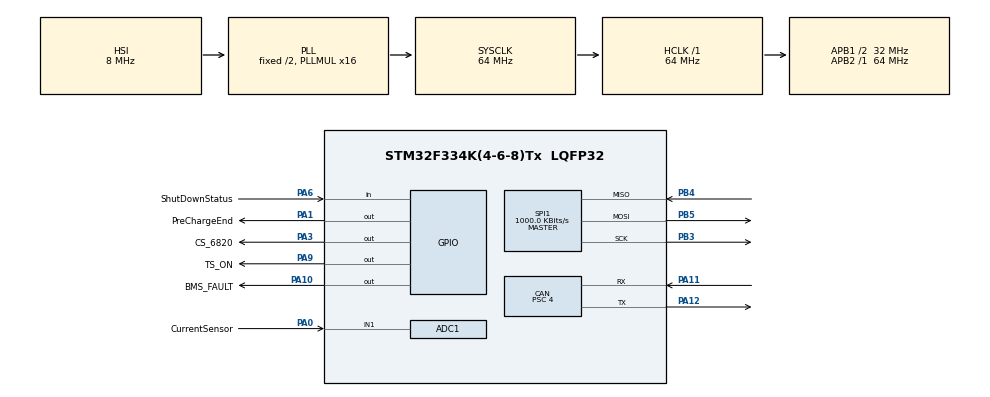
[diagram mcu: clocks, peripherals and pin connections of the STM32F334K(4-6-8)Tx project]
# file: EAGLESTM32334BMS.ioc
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ADC1.Channel-0\#ChannelRegularConversion=ADC_CHANNEL_1
ADC1.NbrOfConversion=1
ADC1.NbrOfConversionFlag=1
ADC1.Offset-0\#ChannelRegularConversion=0
ADC1.OffsetNumber-0\#ChannelRegularConversion=ADC_OFFSET_NONE
ADC1.Rank-0\#ChannelRegularConversion=1
ADC1.SamplingTime-0\#ChannelRegularConversion=ADC_SAMPLETIME_1CYCLE_5
ADC1.SubFamily=STM32F334x8
ADC1.master=1
CAN.BS1=CAN_BS1_6TQ
CAN.CalculateTimeQuantum=125.0
CAN.Prescaler=4
Mcu.Family=STM32F3
Mcu.Name=STM32F334K(4-6-8)Tx
Mcu.Package=LQFP32
NVIC.PriorityGroup=NVIC_PRIORITYGROUP_4
PA0.GPIO_Label=CurrentSensor
PA0.Mode=IN1-Single-Ended
PA0.Signal=ADC1_IN1
PA1.GPIO_Label=PreChargeEnd
PA1.Signal=GPIO_Output
PA10.GPIO_Label=BMS_FAULT
PA10.Signal=GPIO_Output
PA11.GPIO_PuPd=GPIO_PULLUP
PA11.Mode=Master
PA11.Signal=CAN_RX
PA12.GPIO_PuPd=GPIO_PULLUP
PA12.Mode=Master
PA12.Signal=CAN_TX
PA13.Mode=Serial_Wire
PA13.Signal=SYS_JTMS-SWDIO
PA14.Mode=Serial_Wire
PA14.Signal=SYS_JTCK-SWCLK
PA3.GPIO_Label=CS_6820
PA3.PinState=GPIO_PIN_SET
PA3.Signal=GPIO_Output
PA6.GPIO_Label=ShutDownStatus
PA6.Signal=GPIO_Input
PA9.GPIO_Label=TS_ON
PA9.Signal=GPIO_Output
PB3.Mode=Full_Duplex_Master
PB3.Signal=SPI1_SCK
PB4.Mode=Full_Duplex_Master
PB4.Signal=SPI1_MISO
PB5.Mode=Full_Duplex_Master
PB5.Signal=SPI1_MOSI
ProjectManager.HeapSize=0x200
ProjectManager.StackSize=0x400
ProjectManager.TargetToolchain=SW4STM32
RCC.AHBFreq_Value=64000000
RCC.APB1CLKDivider=RCC_HCLK_DIV2
RCC.APB1Freq_Value=32000000
RCC.APB1TimFreq_Value=64000000
RCC.APB2Freq_Value=64000000
RCC.APB2TimFreq_Value=64000000
RCC.CortexFreq_Value=64000000
RCC.HCLKFreq_Value=64000000
RCC.HSE_VALUE=8000000
RCC.HSI_VALUE=8000000
RCC.PLLMUL=RCC_PLL_MUL16
RCC.SYSCLKFreq_VALUE=64000000
RCC.SYSCLKSourceVirtual=RCC_SYSCLKSOURCE_PLLCLK
SPI1.BaudRatePrescaler=SPI_BAUDRATEPRESCALER_64
SPI1.CalculateBaudRate=1000.0 KBits/s
SPI1.DataSize=SPI_DATASIZE_8BIT
SPI1.Direction=SPI_DIRECTION_2LINES
SPI1.Mode=SPI_MODE_MASTER
SPI1.VirtualType=VM_MASTER
board=EAGLESTM32334BMS

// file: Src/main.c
/**
  ******************************************************************************
  * @file           : main.c
  * @brief          : Main program body
  ******************************************************************************
  ** This notice applies to any and all portions of this file
  * that are not between comment pairs USER CODE BEGIN and
  * USER CODE END. Other portions of this file, whether
  * inserted by the user or by software development tools
  * are owned by their respective copyright owners.
  *
  * COPYRIGHT(c) 2018 STMicroelectronics
  *
  * Redistribution and use in source and binary forms, with or without modification,
  * are permitted provided that the following conditions are met:
  *   1. Redistributions of source code must retain the above copyright notice,
  *      this list of conditions and the following disclaimer.
  *   2. Redistributions in binary form must reproduce the above copyright notice,
  *      this list of conditions and the following disclaimer in the documentation
  *      and/or other materials provided with the distribution.
  *   3. Neither the name of STMicroelectronics nor the names of its contributors
  *      may be used to endorse or promote products derived from this software
  *      without specific prior written permission.
  *
  * THIS SOFTWARE IS PROVIDED BY THE COPYRIGHT HOLDERS AND CONTRIBUTORS "AS IS"
  * AND ANY EXPRESS OR IMPLIED WARRANTIES, INCLUDING, BUT NOT LIMITED TO, THE
  * IMPLIED WARRANTIES OF MERCHANTABILITY AND FITNESS FOR A PARTICULAR PURPOSE ARE
  * DISCLAIMED. IN NO EVENT SHALL THE COPYRIGHT HOLDER OR CONTRIBUTORS BE LIABLE
  * FOR ANY DIRECT, INDIRECT, INCIDENTAL, SPECIAL, EXEMPLARY, OR CONSEQUENTIAL
  * DAMAGES (INCLUDING, BUT NOT LIMITED TO, PROCUREMENT OF SUBSTITUTE GOODS OR
  * SERVICES; LOSS OF USE, DATA, OR PROFITS; OR BUSINESS INTERRUPTION) HOWEVER
  * CAUSED AND ON ANY THEORY OF LIABILITY, WHETHER IN CONTRACT, STRICT LIABILITY,
  * OR TORT (INCLUDING NEGLIGENCE OR OTHERWISE) ARISING IN ANY WAY OUT OF THE USE
  * OF THIS SOFTWARE, EVEN IF ADVISED OF THE POSSIBILITY OF SUCH DAMAGE.
  *
  ******************************************************************************
  */
#include "main.h"
#include "stm32f3xx_hal.h"

/* USER CODE BEGIN Includes */

#include "ltc_68xx.h"
#include <string.h>
#include <stdlib.h>
#include <inttypes.h>
#define TOT_IC 12 // number of daisy chain
#define CELL_CH 9
CAN_FilterConfTypeDef tsONfilter;
CanRxMsgTypeDef RxMsg;
CanTxMsgTypeDef TxMsg;
/* USER CODE END Includes */

ADC_HandleTypeDef hadc1;

CAN_HandleTypeDef hcan;

SPI_HandleTypeDef hspi1;

/* USER CODE BEGIN PV */
/* Private variables ---------------------------------------------------------*/

uint16_t cell_voltages[108][2];
uint16_t cell_voltages_vector[108];
uint16_t cell_temperatures[108][2];
uint16_t cell_temperatures_vector[108];
uint16_t min_v;
uint16_t max_v;
uint16_t avg_v;
uint32_t pack_v;
uint16_t max_t;
uint16_t avg_t;
uint8_t parity = 0;
PackStateTypeDef state = PACK_OK;
uint8_t fault_counter = 0;
uint8_t BMS_status = 0;
int counterCicle = 0;
uint32_t *adcBuffer;
/* USER CODE END PV */

void SystemClock_Config(void);
static void MX_GPIO_Init(void);
static void MX_SPI1_Init(void);
static void MX_ADC1_Init(void);
static void MX_CAN_Init(void);

/* USER CODE BEGIN PFP */
/* Private function prototypes -----------------------------------------------*/

/* USER CODE END PFP */

int main(void)
{

  /* MCU Configuration----------------------------------------------------------*/

  /* Reset of all peripherals, Initializes the Flash interface and the Systick. */
  HAL_Init();

  /* Configure the system clock */
  SystemClock_Config();

  /* Initialize all configured peripherals */
  MX_GPIO_Init();
  MX_SPI1_Init();
  MX_ADC1_Init();
  MX_CAN_Init();
  /* USER CODE BEGIN 2 */

  // CAN FIlter Initialization
  tsONfilter.FilterMode = CAN_FILTERMODE_IDLIST;
  tsONfilter.FilterIdLow = 0x55 << 5;
  tsONfilter.FilterIdHigh = 0x55 << 5;
  tsONfilter.FilterMaskIdHigh = 0x55 << 5;
  tsONfilter.FilterMaskIdLow = 0x55 << 5;
  tsONfilter.FilterFIFOAssignment = CAN_FILTER_FIFO0;
  tsONfilter.BankNumber = 0;
  tsONfilter.FilterScale  = CAN_FILTERSCALE_16BIT;
  tsONfilter.FilterActivation = ENABLE;
  HAL_CAN_ConfigFilter(&hcan, &tsONfilter);

  // BMS Status OFF
  HAL_GPIO_WritePin(GPIOA, GPIO_PIN_10, GPIO_PIN_RESET);

  // First cell  reads
  // Voltages
  ltc6804_adcv(0, &hspi1);
  HAL_Delay(10);
  for(uint8_t current_ic = 0; current_ic < TOT_IC; current_ic++){
	  ltc6804_rdcv_voltages(current_ic, cell_voltages, &hspi1);
  }
  // Temperatures
  ltc6804_command_temperatures(1, 0, &hspi1);
  ltc6804_adcv(1, &hspi1);
  HAL_Delay(10);
  for(uint8_t current_ic = 0; current_ic < TOT_IC; current_ic++)
	  ltc6804_rdcv_temp(current_ic, 0, cell_temperatures, &hspi1);
  ltc6804_command_temperatures(1, 1, &hspi1);
  ltc6804_adcv(1, &hspi1);
  HAL_Delay(10);
  for(uint8_t current_ic = 0; current_ic < TOT_IC; current_ic++)
	  ltc6804_rdcv_temp(current_ic, 1, cell_temperatures, &hspi1);
  ltc6804_command_temperatures(0, 0, &hspi1);

  //Cells 90 and 91 not working
  cell_voltages[90][0]=(cell_voltages[89][0]+cell_voltages[88][0])/2;
  cell_voltages[91][0]=(cell_voltages[92][0]+cell_voltages[93][0])/2;
  cell_voltages[90][1]=0;
  cell_voltages[91][1]=0;
  cell_temperatures[90][0]=(cell_temperatures[89][0]+cell_temperatures[88][0])/2;
  cell_temperatures[91][0]=(cell_temperatures[92][0]+cell_temperatures[93][0])/2;
  cell_temperatures[90][1]=0;
  cell_temperatures[91][1]=0;

  /* USER CODE END 2 */

  /* Infinite loop */
  /* USER CODE BEGIN WHILE */

  while (1)
  {

	  // Voltages
	  ltc6804_adcv(0, &hspi1);
	  HAL_Delay(10);
	  for(uint8_t current_ic = 0; current_ic < TOT_IC; current_ic++)
		  ltc6804_rdcv_voltages(current_ic, cell_voltages, &hspi1);

	  // Temperatures
	  if (++parity == 2)
		  parity = 0;
	  ltc6804_command_temperatures(1, parity, &hspi1);
	  ltc6804_adcv(1, &hspi1);
	  HAL_Delay(10);
	  for(uint8_t current_ic = 0; current_ic < TOT_IC; current_ic++)
		  ltc6804_rdcv_temp(current_ic, parity, cell_temperatures, &hspi1);
	  ltc6804_command_temperatures(0, 0, &hspi1);

	  //Cells 90 and 91 not working
	  cell_voltages[90][0]=(cell_voltages[89][0]+cell_voltages[88][0])/2;
	  cell_voltages[91][0]=(cell_voltages[92][0]+cell_voltages[93][0])/2;
	  cell_voltages[90][1]=0;
	  cell_voltages[91][1]=0;
	  cell_temperatures[90][0]=(cell_temperatures[89][0]+cell_temperatures[88][0])/2;
	  cell_temperatures[91][0]=(cell_temperatures[92][0]+cell_temperatures[93][0])/2;
	  cell_temperatures[90][1]=0;
	  cell_temperatures[91][1]=0;

	  state = status(cell_voltages, cell_temperatures, &pack_v, &min_v, &max_v, &avg_v, &max_t, &avg_t);
	  if(state == PACK_OK){

		  fault_counter = 0;
		  if(BMS_status == 0){

			  HAL_Delay(10);
			  BMS_status = 1;
			  HAL_GPIO_WritePin(GPIOA, GPIO_PIN_10, GPIO_PIN_SET);

		  }

	  }
	  else{
		  fault_counter++;
		  if(state == OVER_VOLTAGE || state == UNDER_VOLTAGE || state == DATA_NOT_UPDATED){

			  //CAN message indicating a voltage fault
			  TxMsg.IDE = CAN_ID_STD;
			  TxMsg.RTR = CAN_RTR_DATA;
			  TxMsg.DLC = 8;
			  TxMsg.StdId = 0xAA;
			  TxMsg.Data[0] = 0x08;
			  TxMsg.Data[1] = 0x02;
			  TxMsg.Data[2] = 0x00;
			  TxMsg.Data[3] = 0x00;
			  TxMsg.Data[4] = 0x00;
			  TxMsg.Data[5] = 0x00;
			  TxMsg.Data[6] = 0x00;
			  TxMsg.Data[7] = 0x00;
			  hcan.pTxMsg = &TxMsg;

		  }
		  else if(state == OVER_TEMPERATURE){

			  //CAN message indicating a cell temperature fault
			  TxMsg.IDE = CAN_ID_STD;
			  TxMsg.RTR = CAN_RTR_DATA;
			  TxMsg.DLC = 8;
			  TxMsg.StdId = 0xAA;
			  TxMsg.Data[0] = 0x08;
			  TxMsg.Data[1] = 0x03;
			  TxMsg.Data[2] = 0x00;
			  TxMsg.Data[3] = 0x00;
			  TxMsg.Data[4] = 0x00;
			  TxMsg.Data[5] = 0x00;
			  TxMsg.Data[6] = 0x00;
			  TxMsg.Data[7] = 0x00;
			  hcan.pTxMsg = &TxMsg;
			  HAL_CAN_Transmit(&hcan, 10);

		  }
		  else if(state == PACK_OVER_TEMPERATURE){

			  //CAN message indicating a pack temperature fault
			  TxMsg.IDE = CAN_ID_STD;
			  TxMsg.RTR = CAN_RTR_DATA;
			  TxMsg.DLC = 8;
			  TxMsg.StdId = 0xAA;
			  TxMsg.Data[0] = 0x08;
			  TxMsg.Data[1] = 0x04;
			  TxMsg.Data[2] = 0x00;
			  TxMsg.Data[3] = 0x00;
			  TxMsg.Data[4] = 0x00;
			  TxMsg.Data[5] = 0x00;
			  TxMsg.Data[6] = 0x00;
			  TxMsg.Data[7] = 0x00;
			  hcan.pTxMsg = &TxMsg;
			  HAL_CAN_Transmit(&hcan, 10);

		  }
		  if(fault_counter > 15){

			  //Set the BMS to fault
			  BMS_status = 0;
			  HAL_GPIO_WritePin(GPIOA, GPIO_PIN_10, GPIO_PIN_RESET);
			  //Sends the error message indicating the fault and the TS OFF
			  HAL_CAN_Transmit(&hcan, 10);

		  }

	  }
	  // Send pack data via CAN
	  TxMsg.IDE = CAN_ID_STD;
	  TxMsg.RTR = CAN_RTR_DATA;
	  TxMsg.DLC = 8;
	  TxMsg.StdId = 0xAA;
	  TxMsg.Data[0] = 0x01;
	  TxMsg.Data[1] = (uint8_t) (pack_v >> 16);
	  TxMsg.Data[2] = (uint8_t) (pack_v >> 8);
	  TxMsg.Data[3] = (uint8_t) (pack_v);
	  TxMsg.Data[4] = (uint8_t) (avg_t >> 8);
	  TxMsg.Data[5] = (uint8_t) (avg_t);
	  TxMsg.Data[6] = (uint8_t) (max_t >> 8);
	  TxMsg.Data[7] = (uint8_t) (max_t);
	  hcan.pTxMsg = &TxMsg;
	  HAL_CAN_Transmit(&hcan, 10);

	  hcan.pRxMsg = &RxMsg;
	  if(HAL_CAN_Receive(&hcan,CAN_FIFO0, 1) == HAL_OK){

		  if(RxMsg.StdId == 0x55 && RxMsg.Data[0] == 0x0A){

			  //TS ON procedure with delay as pre-charge control
			  HAL_GPIO_WritePin(GPIOA, GPIO_PIN_9, GPIO_PIN_SET);
			  HAL_Delay(15000);
			  HAL_GPIO_WritePin(GPIOA, GPIO_PIN_1, GPIO_PIN_SET);
			  HAL_Delay(1);
			  HAL_GPIO_WritePin(GPIOA, GPIO_PIN_1, GPIO_PIN_RESET);
			  TxMsg.IDE = CAN_ID_STD;
			  TxMsg.RTR = CAN_RTR_DATA;
			  TxMsg.DLC = 8;
			  TxMsg.StdId = 0xAA;
			  TxMsg.Data[0] = 0x03;
			  TxMsg.Data[1] = 0x00;
			  TxMsg.Data[2] = 0x00;
			  TxMsg.Data[3] = 0x00;
			  TxMsg.Data[4] = 0x00;
			  TxMsg.Data[5] = 0x00;
			  TxMsg.Data[6] = 0x00;
			  TxMsg.Data[7] = 0x00;
			  hcan.pTxMsg = &TxMsg;
			  HAL_CAN_Transmit(&hcan, 10);

		  }
		  else if(RxMsg.StdId == 0x55 && RxMsg.Data[0] == 0x0B){

			  HAL_GPIO_WritePin(GPIOA, GPIO_PIN_9, GPIO_PIN_RESET);
			  TxMsg.IDE = CAN_ID_STD;
			  TxMsg.RTR = CAN_RTR_DATA;
			  TxMsg.DLC = 8;
			  TxMsg.StdId = 0xAA;
			  TxMsg.Data[0] = 0x04;
			  TxMsg.Data[1] = 0x00;
			  TxMsg.Data[2] = 0x00;
			  TxMsg.Data[3] = 0x00;
			  TxMsg.Data[4] = 0x00;
			  TxMsg.Data[5] = 0x00;
			  TxMsg.Data[6] = 0x00;
			  TxMsg.Data[7] = 0x00;
			  hcan.pTxMsg = &TxMsg;
			  HAL_CAN_Transmit(&hcan, 10);

		  }

	  }

//		uint32_t sum=0;
//	  	  for(int i=0;i<512;i++){
//	   	HAL_ADC_Start_DMA(&hadc1, (uint32_t*) adcBuffer[i], 1); // Call DMA for ADC1
//
//	   	HAL_Delay(20); // Wait for conversion
//	   	sum=sum+adcBuffer[i];
//	   	HAL_ADC_Stop_DMA(&hadc1);
//	   	uint32_t Current = Get_Amps_Value(adcBuffer[i],(uint16_t)2.048);
//
//	  	  }
//

	  // Send all Voltages and Temperatures data via CAN
	  //remove 2nd dimension for can
/*
	  	  for(int i=0;i<108;i++){
	  		 cell_voltages_vector[i]=cell_voltages[i][0];
	  		  }
	  	  for(int i=0;i<108;i++){
	  		  		 cell_temperatures_vector[i]=cell_voltages[i][0];
	  		  		  }

	  TxMsg.IDE = CAN_ID_STD;
		  TxMsg.RTR = CAN_RTR_DATA;
		  TxMsg.DLC = 8;
		  TxMsg.StdId = 0xAB;

		  for(int i=0;i<27;i=i+4){

		  TxMsg.Data[0] = (uint8_t) (cell_voltages_vector[i]>>16) ;
		  TxMsg.Data[1] = (uint8_t) (cell_voltages_vector[i]  >> 8);
		  TxMsg.Data[2] = (uint8_t) (cell_voltages_vector[i+1]  >> 16);
		  TxMsg.Data[3] = (uint8_t) (cell_voltages_vector[i+1] >> 8 );
		  TxMsg.Data[4] = (uint8_t) (cell_voltages_vector[i+2]  >>16);
		  TxMsg.Data[5] = (uint8_t) (cell_voltages_vector[i+2] >> 8 );
		  TxMsg.Data[6] = (uint8_t) (cell_voltages_vector[i+3] >> 16);
		  TxMsg.Data[7] = (uint8_t) (cell_voltages_vector[i+4]  >>8);
		  hcan.pTxMsg = &TxMsg;
		  HAL_CAN_Transmit(&hcan, 10);

		  }

		  TxMsg.IDE = CAN_ID_STD;
		 		  TxMsg.RTR = CAN_RTR_DATA;
		 		  TxMsg.DLC = 8;
		 		  TxMsg.StdId = 0xAC;

		 		  for(int i=0;i<27;i=i+4){

		 		  TxMsg.Data[0] = (uint8_t) (cell_temperatures_vector[i]>>16) ;
		 		  TxMsg.Data[1] = (uint8_t) (cell_temperatures_vector[i]  >> 8);
		 		  TxMsg.Data[2] = (uint8_t) (cell_temperatures_vector[i+1]  >> 16);
		 		  TxMsg.Data[3] = (uint8_t) (cell_temperatures_vector[i+1] >> 8 );
		 		  TxMsg.Data[4] = (uint8_t) (cell_temperatures_vector[i+2]  >>16);
		 		  TxMsg.Data[5] = (uint8_t) (cell_temperatures_vector[i+2] >> 8 );
		 		  TxMsg.Data[6] = (uint8_t) (cell_temperatures_vector[i+3] >> 16);
		 		  TxMsg.Data[7] = (uint8_t) (cell_temperatures_vector[i+3]  >>8);
		 		  hcan.pTxMsg = &TxMsg;
		 		  HAL_CAN_Transmit(&hcan, 10);

		 		  }*/
  /* USER CODE END WHILE */

  /* USER CODE BEGIN 3 */
	  counterCicle = counterCicle + 1;
  }
  /* USER CODE END 3 */

}

void SystemClock_Config(void)
{

  RCC_OscInitTypeDef RCC_OscInitStruct;
  RCC_ClkInitTypeDef RCC_ClkInitStruct;
  RCC_PeriphCLKInitTypeDef PeriphClkInit;

    /**Initializes the CPU, AHB and APB busses clocks
    */
  RCC_OscInitStruct.OscillatorType = RCC_OSCILLATORTYPE_HSI;
  RCC_OscInitStruct.HSIState = RCC_HSI_ON;
  RCC_OscInitStruct.HSICalibrationValue = 16;
  RCC_OscInitStruct.PLL.PLLState = RCC_PLL_ON;
  RCC_OscInitStruct.PLL.PLLSource = RCC_PLLSOURCE_HSI;
  RCC_OscInitStruct.PLL.PLLMUL = RCC_PLL_MUL16;
  if (HAL_RCC_OscConfig(&RCC_OscInitStruct) != HAL_OK)
  {
    _Error_Handler(__FILE__, __LINE__);
  }

    /**Initializes the CPU, AHB and APB busses clocks
    */
  RCC_ClkInitStruct.ClockType = RCC_CLOCKTYPE_HCLK|RCC_CLOCKTYPE_SYSCLK
                              |RCC_CLOCKTYPE_PCLK1|RCC_CLOCKTYPE_PCLK2;
  RCC_ClkInitStruct.SYSCLKSource = RCC_SYSCLKSOURCE_PLLCLK;
  RCC_ClkInitStruct.AHBCLKDivider = RCC_SYSCLK_DIV1;
  RCC_ClkInitStruct.APB1CLKDivider = RCC_HCLK_DIV2;
  RCC_ClkInitStruct.APB2CLKDivider = RCC_HCLK_DIV1;

  if (HAL_RCC_ClockConfig(&RCC_ClkInitStruct, FLASH_LATENCY_2) != HAL_OK)
  {
    _Error_Handler(__FILE__, __LINE__);
  }

  PeriphClkInit.PeriphClockSelection = RCC_PERIPHCLK_ADC12;
  PeriphClkInit.Adc12ClockSelection = RCC_ADC12PLLCLK_DIV1;
  if (HAL_RCCEx_PeriphCLKConfig(&PeriphClkInit) != HAL_OK)
  {
    _Error_Handler(__FILE__, __LINE__);
  }

    /**Configure the Systick interrupt time
    */
  HAL_SYSTICK_Config(HAL_RCC_GetHCLKFreq()/1000);

    /**Configure the Systick
    */
  HAL_SYSTICK_CLKSourceConfig(SYSTICK_CLKSOURCE_HCLK);

  /* SysTick_IRQn interrupt configuration */
  HAL_NVIC_SetPriority(SysTick_IRQn, 0, 0);
}

/* ADC1 init function */
static void MX_ADC1_Init(void)
{

  ADC_MultiModeTypeDef multimode;
  ADC_ChannelConfTypeDef sConfig;

    /**Common config
    */
  hadc1.Instance = ADC1;
  hadc1.Init.ClockPrescaler = ADC_CLOCK_ASYNC_DIV1;
  hadc1.Init.Resolution = ADC_RESOLUTION_12B;
  hadc1.Init.ScanConvMode = ADC_SCAN_DISABLE;
  hadc1.Init.ContinuousConvMode = DISABLE;
  hadc1.Init.DiscontinuousConvMode = DISABLE;
  hadc1.Init.ExternalTrigConvEdge = ADC_EXTERNALTRIGCONVEDGE_NONE;
  hadc1.Init.ExternalTrigConv = ADC_SOFTWARE_START;
  hadc1.Init.DataAlign = ADC_DATAALIGN_RIGHT;
  hadc1.Init.NbrOfConversion = 1;
  hadc1.Init.DMAContinuousRequests = DISABLE;
  hadc1.Init.EOCSelection = ADC_EOC_SINGLE_CONV;
  hadc1.Init.LowPowerAutoWait = DISABLE;
  hadc1.Init.Overrun = ADC_OVR_DATA_OVERWRITTEN;
  if (HAL_ADC_Init(&hadc1) != HAL_OK)
  {
    _Error_Handler(__FILE__, __LINE__);
  }

    /**Configure the ADC multi-mode
    */
  multimode.Mode = ADC_MODE_INDEPENDENT;
  if (HAL_ADCEx_MultiModeConfigChannel(&hadc1, &multimode) != HAL_OK)
  {
    _Error_Handler(__FILE__, __LINE__);
  }

    /**Configure Regular Channel
    */
  sConfig.Channel = ADC_CHANNEL_1;
  sConfig.Rank = ADC_REGULAR_RANK_1;
  sConfig.SingleDiff = ADC_SINGLE_ENDED;
  sConfig.SamplingTime = ADC_SAMPLETIME_1CYCLE_5;
  sConfig.OffsetNumber = ADC_OFFSET_NONE;
  sConfig.Offset = 0;
  if (HAL_ADC_ConfigChannel(&hadc1, &sConfig) != HAL_OK)
  {
    _Error_Handler(__FILE__, __LINE__);
  }

}

/* CAN init function */
static void MX_CAN_Init(void)
{

  hcan.Instance = CAN;
  hcan.Init.Prescaler = 4;
  hcan.Init.Mode = CAN_MODE_NORMAL;
  hcan.Init.SJW = CAN_SJW_1TQ;
  hcan.Init.BS1 = CAN_BS1_6TQ;
  hcan.Init.BS2 = CAN_BS2_1TQ;
  hcan.Init.TTCM = DISABLE;
  hcan.Init.ABOM = DISABLE;
  hcan.Init.AWUM = DISABLE;
  hcan.Init.NART = DISABLE;
  hcan.Init.RFLM = DISABLE;
  hcan.Init.TXFP = DISABLE;
  if (HAL_CAN_Init(&hcan) != HAL_OK)
  {
    _Error_Handler(__FILE__, __LINE__);
  }

}

/* SPI1 init function */
static void MX_SPI1_Init(void)
{

  /* SPI1 parameter configuration*/
  hspi1.Instance = SPI1;
  hspi1.Init.Mode = SPI_MODE_MASTER;
  hspi1.Init.Direction = SPI_DIRECTION_2LINES;
  hspi1.Init.DataSize = SPI_DATASIZE_8BIT;
  hspi1.Init.CLKPolarity = SPI_POLARITY_LOW;
  hspi1.Init.CLKPhase = SPI_PHASE_1EDGE;
  hspi1.Init.NSS = SPI_NSS_SOFT;
  hspi1.Init.BaudRatePrescaler = SPI_BAUDRATEPRESCALER_64;
  hspi1.Init.FirstBit = SPI_FIRSTBIT_MSB;
  hspi1.Init.TIMode = SPI_TIMODE_DISABLE;
  hspi1.Init.CRCCalculation = SPI_CRCCALCULATION_DISABLE;
  hspi1.Init.CRCPolynomial = 7;
  hspi1.Init.CRCLength = SPI_CRC_LENGTH_DATASIZE;
  hspi1.Init.NSSPMode = SPI_NSS_PULSE_ENABLE;
  if (HAL_SPI_Init(&hspi1) != HAL_OK)
  {
    _Error_Handler(__FILE__, __LINE__);
  }

}

/** Configure pins as
        * Analog
        * Input
        * Output
        * EVENT_OUT
        * EXTI
*/
static void MX_GPIO_Init(void)
{

  GPIO_InitTypeDef GPIO_InitStruct;

  /* GPIO Ports Clock Enable */
  __HAL_RCC_GPIOA_CLK_ENABLE();
  __HAL_RCC_GPIOB_CLK_ENABLE();

  /*Configure GPIO pin Output Level */
  HAL_GPIO_WritePin(GPIOA, PreChargeEnd_Pin|TS_ON_Pin|BMS_FAULT_Pin, GPIO_PIN_RESET);

  /*Configure GPIO pin Output Level */
  HAL_GPIO_WritePin(CS_6820_GPIO_Port, CS_6820_Pin, GPIO_PIN_SET);

  /*Configure GPIO pins : PreChargeEnd_Pin CS_6820_Pin TS_ON_Pin BMS_FAULT_Pin */
  GPIO_InitStruct.Pin = PreChargeEnd_Pin|CS_6820_Pin|TS_ON_Pin|BMS_FAULT_Pin;
  GPIO_InitStruct.Mode = GPIO_MODE_OUTPUT_PP;
  GPIO_InitStruct.Pull = GPIO_NOPULL;
  GPIO_InitStruct.Speed = GPIO_SPEED_FREQ_LOW;
  HAL_GPIO_Init(GPIOA, &GPIO_InitStruct);

  /*Configure GPIO pin : ShutDownStatus_Pin */
  GPIO_InitStruct.Pin = ShutDownStatus_Pin;
  GPIO_InitStruct.Mode = GPIO_MODE_INPUT;
  GPIO_InitStruct.Pull = GPIO_NOPULL;
  HAL_GPIO_Init(ShutDownStatus_GPIO_Port, &GPIO_InitStruct);

}

void _Error_Handler(char *file, int line)
{
  while(1)
  {
  }
}

/************************ (C) COPYRIGHT STMicroelectronics *****END OF FILE****/
